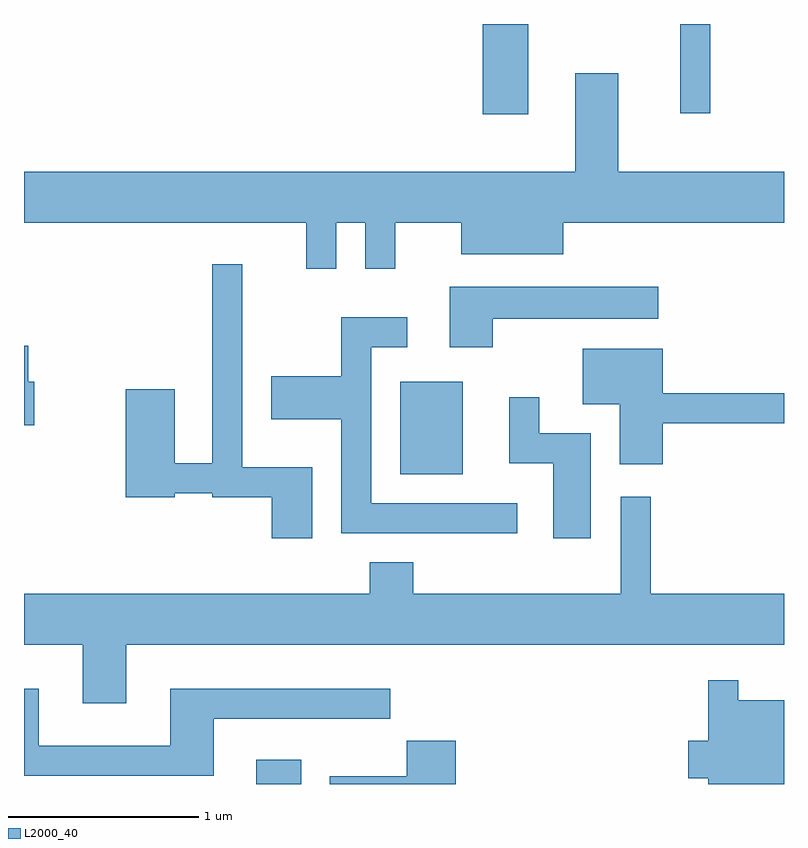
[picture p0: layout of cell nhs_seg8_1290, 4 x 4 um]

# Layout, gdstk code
import gdstk
lib = gdstk.Library(unit=1e-6, precision=1e-09)
def R(c, l, rs):  # rectangles x0, y0, x1, y1
    for r in rs: c.add(gdstk.rectangle(r[:2], r[2:], *l))
def P(c, l, *ps):  # polygons
    for p in ps: c.add(gdstk.Polygon(p, *l))
L2000_40 = (2000, 40)

nhs_seg8_1290 = lib.new_cell('nhs_seg8_1290')
R(nhs_seg8_1290, L2000_40, [(224.833,1842.342,225.069,1842.469), (225.591,1843.971,225.919,1844.459), (226.026,1845.866,226.264,1846.342), (227.066,1845.873,227.224,1846.342)])
P(nhs_seg8_1290, L2000_40, [(225.254,1845.296),(225.406,1845.296),(225.406,1845.053),(225.564,1845.053),(225.564,1845.296),(225.911,1845.296),(225.911,1845.131),(226.449,1845.131),(226.449,1845.296),(227.611,1845.296),(227.611,1845.564),(226.739,1845.564),(226.739,1846.084),(226.511,1846.084),(226.511,1845.564),(223.611,1845.564),(223.611,1845.296),(225.096,1845.296),(225.096,1845.053),(225.254,1845.053)],
  [(225.129,1844.009),(224.759,1844.009),(224.759,1845.078),(224.601,1845.078),(224.601,1844.029),(224.404,1844.029),(224.404,1844.419),(224.146,1844.419),(224.146,1843.851),(224.404,1843.851),(224.404,1843.871),(224.601,1843.871),(224.601,1843.851),(224.916,1843.851),(224.916,1843.636),(225.129,1843.636)],
  [(226.079,1844.791),(226.948,1844.791),(226.948,1844.959),(225.851,1844.959),(225.851,1844.641),(226.079,1844.641)],
  [(226.208,1843.819),(225.439,1843.819),(225.439,1844.641),(225.628,1844.641),(225.628,1844.799),(225.281,1844.799),(225.281,1844.489),(224.911,1844.489),(224.911,1844.261),(225.281,1844.261),(225.281,1843.661),(226.208,1843.661)],
  [(223.664,1844.459),(223.634,1844.459),(223.634,1844.649),(223.611,1844.649),(223.611,1844.231),(223.664,1844.231)],
  [(226.974,1844.241),(227.611,1844.241),(227.611,1844.399),(226.974,1844.399),(226.974,1844.634),(226.551,1844.634),(226.551,1844.341),(226.746,1844.341),(226.746,1844.026),(226.974,1844.026)],
  [(226.594,1844.189),(226.324,1844.189),(226.324,1844.378),(226.166,1844.378),(226.166,1844.031),(226.396,1844.031),(226.396,1843.636),(226.594,1843.636)],
  [(224.149,1843.076),(227.611,1843.076),(227.611,1843.344),(226.909,1843.344),(226.909,1843.853),(226.751,1843.853),(226.751,1843.344),(225.659,1843.344),(225.659,1843.509),(225.431,1843.509),(225.431,1843.344),(223.611,1843.344),(223.611,1843.076),(223.921,1843.076),(223.921,1842.766),(224.149,1842.766)],
  [(227.611,1842.784),(227.369,1842.784),(227.369,1842.888),(227.211,1842.888),(227.211,1842.569),(227.106,1842.569),(227.106,1842.371),(227.211,1842.371),(227.211,1842.342),(227.611,1842.342)],
  [(224.609,1842.686),(225.538,1842.686),(225.538,1842.844),(224.381,1842.844),(224.381,1842.544),(223.689,1842.544),(223.689,1842.844),(223.611,1842.844),(223.611,1842.386),(224.609,1842.386)],
  [(225.884,1842.569),(225.626,1842.569),(225.626,1842.384),(225.221,1842.384),(225.221,1842.342),(225.884,1842.342)])

lib.write_gds('nhs_seg8_1290.gds')
